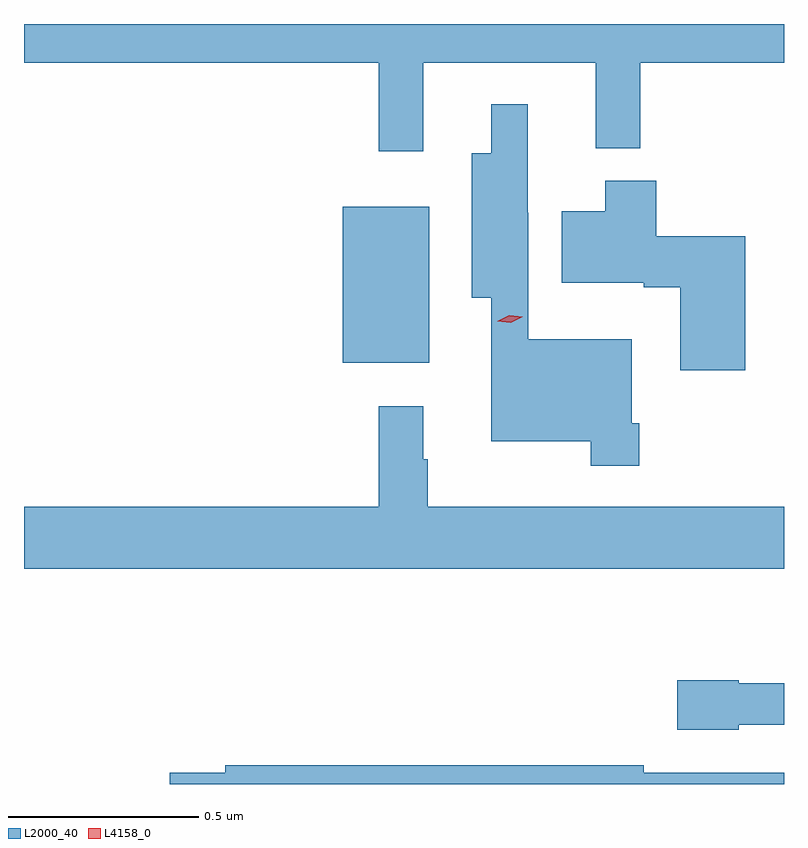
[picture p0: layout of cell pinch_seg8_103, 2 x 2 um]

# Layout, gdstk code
import gdstk
lib = gdstk.Library(unit=1e-6, precision=1e-09)
def R(c, l, rs):  # rectangles x0, y0, x1, y1
    for r in rs: c.add(gdstk.rectangle(r[:2], r[2:], *l))
def P(c, l, *ps):  # polygons
    for p in ps: c.add(gdstk.Polygon(p, *l))
L2000_40 = (2000, 40)
L4158_0 = (4158, 0)

pinch_seg8_103 = lib.new_cell('pinch_seg8_103')
R(pinch_seg8_103, L2000_40, [(1056.452,1106.387,1056.679,1106.797)])
P(pinch_seg8_103, L2000_40, [(1056.663,1107.176),(1057.118,1107.176),(1057.118,1106.951),(1057.235,1106.951),(1057.235,1107.176),(1057.613,1107.176),(1057.613,1107.278),(1055.613,1107.278),(1055.613,1107.176),(1056.547,1107.176),(1056.547,1106.943),(1056.663,1106.943)],
  [(1057.232,1106.227),(1057.212,1106.227),(1057.212,1106.449),(1056.94,1106.449),(1056.94,1106.781),(1056.939,1106.781),(1056.939,1107.067),(1056.842,1107.067),(1056.842,1106.938),(1056.791,1106.938),(1056.791,1106.558),(1056.842,1106.558),(1056.842,1106.18),(1057.104,1106.18),(1057.104,1106.115),(1057.232,1106.115)],
  [(1057.511,1106.719),(1057.277,1106.719),(1057.277,1106.866),(1057.142,1106.866),(1057.142,1106.785),(1057.028,1106.785),(1057.028,1106.597),(1057.244,1106.597),(1057.244,1106.585),(1057.34,1106.585),(1057.34,1106.367),(1057.511,1106.367)],
  [(1057.613,1106.008),(1056.676,1106.008),(1056.676,1106.132),(1056.664,1106.132),(1056.664,1106.272),(1056.547,1106.272),(1056.547,1106.008),(1055.613,1106.008),(1055.613,1105.844),(1057.613,1105.844)],
  [(1057.494,1105.434),(1057.613,1105.434),(1057.613,1105.543),(1057.494,1105.543),(1057.494,1105.551),(1057.332,1105.551),(1057.332,1105.421),(1057.494,1105.421)],
  [(1057.613,1105.308),(1057.244,1105.308),(1057.244,1105.328),(1056.142,1105.328),(1056.142,1105.308),(1055.996,1105.308),(1055.996,1105.278),(1057.613,1105.278)])
P(pinch_seg8_103, L4158_0, [(1056.894,1106.492),(1056.859,1106.496),(1056.858,1106.496),(1056.859,1106.496),(1056.89,1106.511),(1056.925,1106.507),(1056.926,1106.507),(1056.925,1106.507)])

lib.write_gds('pinch_seg8_103.gds')
